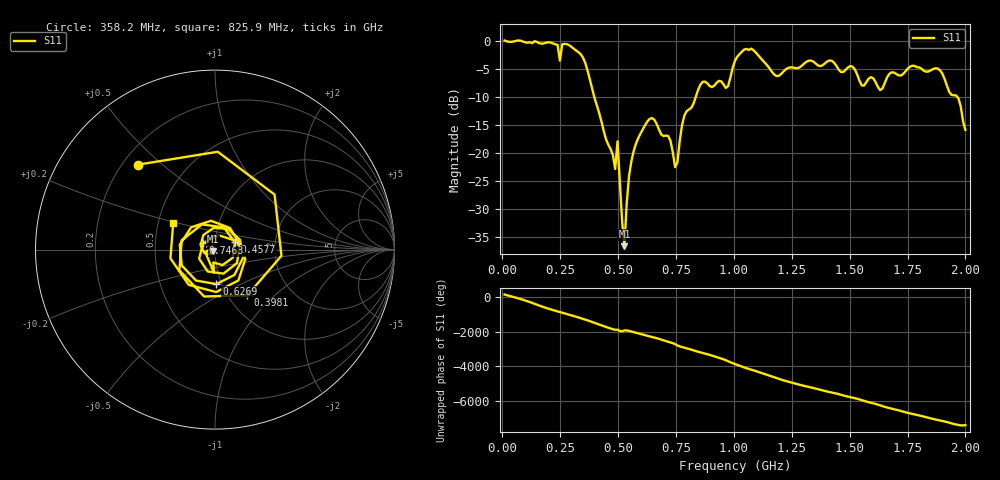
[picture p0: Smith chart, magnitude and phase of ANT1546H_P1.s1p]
!Created with skrf (http://scikit-rf.org).
# Hz S RI R 50.0
!freq ReS11 ImS11
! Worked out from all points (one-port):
!   201 points, 10 MHz to 2 GHz, reference 50 ohm
!   lowest |S11| = -36.6 dB at 527.4 MHz (marker M1), VSWR 1.03, Z = 48.9 - j1.01 ohm
!   |S11| at or under -10 dB: 397.3 MHz to 835.5 MHz (438.2 MHz wide, 71.1 % of centre); 1.965 GHz to end of sweep
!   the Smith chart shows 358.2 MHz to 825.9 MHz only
!   S11 on the Smith chart (normalised r, x): 358.2 MHz: 0.26, +0.42; 398.1 MHz: 1.23, -0.69; 457.8 MHz: 1.25, +0.10; 626.9 MHz: 0.94, -0.38; 746.3 MHz: 0.87, +0.06; 825.9 MHz: 0.60, +0.19
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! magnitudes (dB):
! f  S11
! 10 MHz  0.1
! 238.8 MHz  -0.7
! 248.8 MHz  -3.5
! 258.8 MHz  -0.6
! 358.2 MHz  -3.9
! 398.1 MHz  -10.1
! 457.8 MHz  -18.5
! 487.6 MHz  -22.8
! 497.6 MHz  -17.9
! 507.5 MHz  -25.0
! 527.4 MHz  -36.6
! 557.2 MHz  -21.5
! 626.9 MHz  -14.3
! 716.5 MHz  -17.0
! 746.3 MHz  -22.5
! 756.2 MHz  -21.6
! 786.1 MHz  -13.3
! 825.9 MHz  -11.2
! 865.7 MHz  -7.3
! 975.1 MHz  -8.1
! 1.005 GHz  -3.5
! 1.254 GHz  -4.7
! 1.502 GHz  -4.5
! 1.632 GHz  -8.8
! 1.751 GHz  -4.9
! 1.891 GHz  -5.2
! 1.97 GHz  -10.3
! 2 GHz  -15.9
